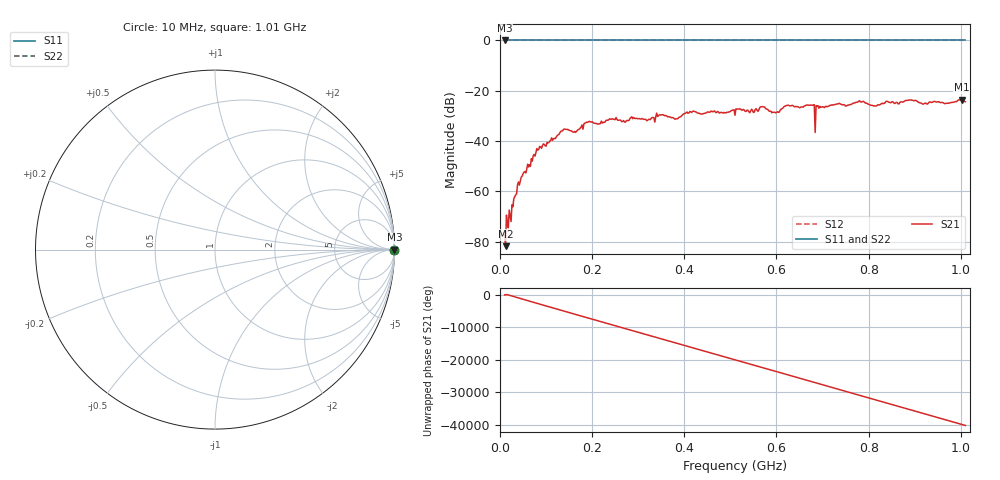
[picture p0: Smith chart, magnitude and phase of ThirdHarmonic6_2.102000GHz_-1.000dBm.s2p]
! 8/17/2025 1:09:00 AM
! C:\ANRITSUVNA\TEMP\TEMP.S2P
! CHANNEL.1
! TR.MEASUREMENT
! RAW.DATA
! RF.CORRECTION.OFF
! AVERAGING.OFF
! IF.BANDWIDTH: 5KHZ
! SWEEPTYPE:  FREQ.SWEEP(Linear)
! Reference Plane Port Info
! PORT:  PORT1  PORT2
! DISTANCE:  0  m  0  m
! TIME:  0  s  0  s
! PHASE.OFFSET:  0  deg.  0  deg.
! LOSS:  0  dB  0  dB
! REF.LOSS:  0  dB  0  dB
! REF.FREQ:  0  Hz  0  Hz
! Power Info
! POWER:  -20  dBm  -20  dBm
! EFF.POWER:  -20  dBm  -20  dBm
! SOURCE.ATTEN:  0  dB  0  dB
! TEST.ATTEN:  0  dB  0  dB
# GHZ S RI R 50.0
! FREQ.GHZ  S11RE  S11IM  S21RE  S21IM  S12RE  S12IM  S22RE  S22IM
!; PortSelection: Port_12
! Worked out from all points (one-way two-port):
!   501 points, 10 MHz to 1.01 GHz, reference 50 ohm
!   highest |S21| = -23.54 dB at 1.002 GHz (marker M1); lowest = -81.8 dB at 12 MHz (marker M2)
!   lowest |S11| = 0.0 dB at 10 MHz (marker M3)
!   |S11| at or under -10 dB: nowhere
!   |S22| runs from 0.0 to 0.0 dB; largest |S21 - S12| = 1.1
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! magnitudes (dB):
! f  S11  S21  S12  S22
! 10 MHz  0.0  -76.0  0.0  0.0
! 12 MHz  0.0  -81.8  0.0  0.0
! 42 MHz  0.0  -57.5  0.0  0.0
! 82 MHz  0.0  -43.6  0.0  0.0
! 136 MHz  0.0  -35.9  0.0  0.0
! 178 MHz  0.0  -33.6  0.0  0.0
! 192 MHz  0.0  -32.3  0.0  0.0
! 322 MHz  0.0  -31.4  0.0  0.0
! 344 MHz  0.0  -29.9  0.0  0.0
! 382 MHz  0.0  -31.1  0.0  0.0
! 416 MHz  0.0  -28.7  0.0  0.0
! 510 MHz  0.0  -29.7  0.0  0.0
! 570 MHz  0.0  -26.3  0.0  0.0
! 602 MHz  0.0  -28.3  0.0  0.0
! 622 MHz  0.0  -25.8  0.0  0.0
! 678 MHz  0.0  -25.8  0.0  0.0
! 680 MHz  0.0  -25.6  0.0  0.0
! 688 MHz  0.0  -26.0  0.0  0.0
! 690 MHz  0.0  -25.9  0.0  0.0
! 844 MHz  0.0  -24.6  0.0  0.0
! 1.002 GHz  0.0  -23.5  0.0  0.0
! 1.01 GHz  0.0  -24.4  0.0  0.0
